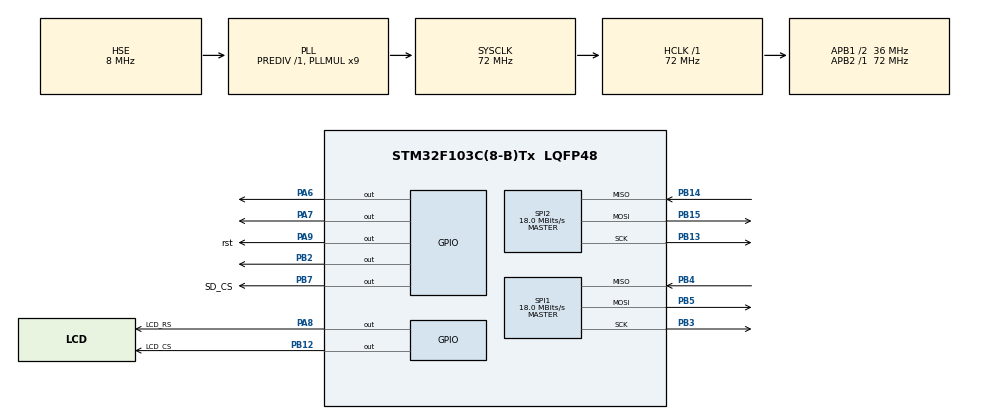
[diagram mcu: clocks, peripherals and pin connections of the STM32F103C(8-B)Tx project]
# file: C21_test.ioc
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FATFS._FS_TINY=1
FATFS._MAX_SS=4096
FATFS._USE_LFN=1
Mcu.Family=STM32F1
Mcu.Name=STM32F103C(8-B)Tx
Mcu.Package=LQFP48
NVIC.PriorityGroup=NVIC_PRIORITYGROUP_4
PA13.Mode=Serial_Wire
PA13.Signal=SYS_JTMS-SWDIO
PA14.Mode=Serial_Wire
PA14.Signal=SYS_JTCK-SWCLK
PA6.Signal=GPIO_Output
PA7.Signal=GPIO_Output
PA8.GPIO_Label=LCD_RS
PA8.Signal=GPIO_Output
PA9.GPIO_Label=rst
PA9.Signal=GPIO_Output
PB12.GPIO_Label=LCD_CS
PB12.Signal=GPIO_Output
PB13.Mode=Full_Duplex_Master
PB13.Signal=SPI2_SCK
PB14.Mode=Full_Duplex_Master
PB14.Signal=SPI2_MISO
PB15.Mode=Full_Duplex_Master
PB15.Signal=SPI2_MOSI
PB2.Signal=GPIO_Output
PB3.Mode=Full_Duplex_Master
PB3.Signal=SPI1_SCK
PB4.Mode=Full_Duplex_Master
PB4.Signal=SPI1_MISO
PB5.Mode=Full_Duplex_Master
PB5.Signal=SPI1_MOSI
PB7.GPIO_Label=SD_CS
PB7.Signal=GPIO_Output
PD0-OSC_IN.Mode=HSE-External-Oscillator
PD0-OSC_IN.Signal=RCC_OSC_IN
PD1-OSC_OUT.Mode=HSE-External-Oscillator
PD1-OSC_OUT.Signal=RCC_OSC_OUT
ProjectManager.HeapSize=0x200
ProjectManager.StackSize=0x400
ProjectManager.TargetToolchain=STM32CubeIDE
RCC.AHBFreq_Value=72000000
RCC.APB1CLKDivider=RCC_HCLK_DIV2
RCC.APB1Freq_Value=36000000
RCC.APB1TimFreq_Value=72000000
RCC.APB2Freq_Value=72000000
RCC.APB2TimFreq_Value=72000000
RCC.HCLKFreq_Value=72000000
RCC.PLLMUL=RCC_PLL_MUL9
RCC.PLLSourceVirtual=RCC_PLLSOURCE_HSE
RCC.SYSCLKFreq_VALUE=72000000
RCC.SYSCLKSource=RCC_SYSCLKSOURCE_PLLCLK
RCC.USBFreq_Value=72000000
SPI1.BaudRatePrescaler=SPI_BAUDRATEPRESCALER_4
SPI1.CalculateBaudRate=18.0 MBits/s
SPI1.Direction=SPI_DIRECTION_2LINES
SPI1.Mode=SPI_MODE_MASTER
SPI1.VirtualType=VM_MASTER
SPI2.CalculateBaudRate=18.0 MBits/s
SPI2.Direction=SPI_DIRECTION_2LINES
SPI2.Mode=SPI_MODE_MASTER
SPI2.VirtualType=VM_MASTER
VP_FATFS_VS_Generic.Mode=User_defined
board=custom

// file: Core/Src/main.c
/* USER CODE BEGIN Header */
/**
  ******************************************************************************
  * @file           : main.c
  * @brief          : Main program body
  ******************************************************************************
  * @attention
  *
  * <h2><center>&copy; Copyright (c) 2020 STMicroelectronics.
  * All rights reserved.</center></h2>
  *
  * This software component is licensed by ST under BSD 3-Clause license,
  * the "License"; You may not use this file except in compliance with the
  * License. You may obtain a copy of the License at:
  *                        opensource.org/licenses/BSD-3-Clause
  *
  ******************************************************************************
  */
/* USER CODE END Header */
#include "main.h"
#include "fatfs.h"

/* USER CODE BEGIN Includes */
#include "st7735.h"
/* USER CODE END Includes */

SPI_HandleTypeDef hspi1;
SPI_HandleTypeDef hspi2;

void SystemClock_Config(void);
static void MX_GPIO_Init(void);
static void MX_SPI2_Init(void);
static void MX_SPI1_Init(void);

/* USER CODE BEGIN 0 */

FATFS fs ;
FATFS  * pfs ;
FIL fil ;
FRESULT fres ;
DWORD fre_clust ;
uint32_t total , free ;
char buffer [ 100 ] ;

void loop() {
    // Check border
    ST7735_FillScreen(ST7735_BLACK);

    for(int x = 0; x < ST7735_WIDTH; x++) {
        ST7735_DrawPixel(x, 0, ST7735_RED);
        ST7735_DrawPixel(x, ST7735_HEIGHT-1, ST7735_RED);
    }

    for(int y = 0; y < ST7735_HEIGHT; y++) {
        ST7735_DrawPixel(0, y, ST7735_RED);
        ST7735_DrawPixel(ST7735_WIDTH-1, y, ST7735_RED);
    }

    HAL_Delay(3000);

    // Check fonts
    ST7735_FillScreen(ST7735_BLACK);
    ST7735_WriteString(0, 0, "Font_7x10, red on black, lorem ipsum dolor sit amet", Font_7x10, ST7735_RED, ST7735_BLACK);
    ST7735_WriteString(0, 3*10, "Font_11x18, green, lorem ipsum", Font_11x18, ST7735_GREEN, ST7735_BLACK);
    ST7735_WriteString(0, 3*10+3*18, "Font_16x26", Font_16x26, ST7735_BLUE, ST7735_BLACK);
    HAL_Delay(2000);

    // Check colors
    ST7735_FillScreen(ST7735_BLACK);
    ST7735_WriteString(0, 0, "BLACK", Font_11x18, ST7735_WHITE, ST7735_BLACK);
    HAL_Delay(500);

    ST7735_FillScreen(ST7735_BLUE);
    ST7735_WriteString(0, 0, "BLUE", Font_11x18, ST7735_BLACK, ST7735_BLUE);
    HAL_Delay(500);

    ST7735_FillScreen(ST7735_RED);
    ST7735_WriteString(0, 0, "RED", Font_11x18, ST7735_BLACK, ST7735_RED);
    HAL_Delay(500);

    ST7735_FillScreen(ST7735_GREEN);
    ST7735_WriteString(0, 0, "GREEN", Font_11x18, ST7735_BLACK, ST7735_GREEN);
    HAL_Delay(500);

    ST7735_FillScreen(ST7735_CYAN);
    ST7735_WriteString(0, 0, "CYAN", Font_11x18, ST7735_BLACK, ST7735_CYAN);
    HAL_Delay(500);

    ST7735_FillScreen(ST7735_MAGENTA);
    ST7735_WriteString(0, 0, "MAGENTA", Font_11x18, ST7735_BLACK, ST7735_MAGENTA);
    HAL_Delay(500);

    ST7735_FillScreen(ST7735_YELLOW);
    ST7735_WriteString(0, 0, "YELLOW", Font_11x18, ST7735_BLACK, ST7735_YELLOW);
    HAL_Delay(500);

    ST7735_FillScreen(ST7735_WHITE);
    ST7735_WriteString(0, 0, "WHITE", Font_11x18, ST7735_BLACK, ST7735_WHITE);
    HAL_Delay(500);
}
/* USER CODE END 0 */

int main(void)
{

  /* MCU Configuration--------------------------------------------------------*/

  /* Reset of all peripherals, Initializes the Flash interface and the Systick. */
  HAL_Init();

  /* Configure the system clock */
  SystemClock_Config();

  /* Initialize all configured peripherals */
  MX_GPIO_Init();
  MX_SPI2_Init();
  MX_SPI1_Init();
  MX_FATFS_Init();
  /* USER CODE BEGIN 2 */
  ST7735_Init();
  loop();

  fres = f_mount ( &fs ,  "" ,   1);
   while ( fres !=  FR_OK ){
 	  fres = f_mount ( &fs ,  "" ,   1);
 	  HAL_Delay(100);
   }
   FIL file;
    FRESULT res = f_open(&file, "video.rgb", FA_READ);
    if(res != FR_OK) {
  //      UART_Printf("f_open() failed, res = %d\r\n", res);
        return -1;
    }
  uint32_t imageHeight = 128;
  uint32_t imageWidth = 128;
  uint32_t bytesRead;
  for( int frame = 0;  frame < 903; frame ++){
    uint8_t imageRow[256];
       for(uint32_t y = 0; y < imageHeight; y++) {
           uint32_t rowIdx = 0;
           res = f_read(&file, imageRow, sizeof(imageRow), &bytesRead);
           if(res != FR_OK) {
  //             UART_Printf("f_read() failed, res = %d\r\n", res);
               f_close(&file);
               return -7;
           }

           for(uint32_t x = 0; x < imageWidth; x++) {
               uint8_t h = imageRow[rowIdx++];
               uint8_t l = imageRow[rowIdx++];

               uint16_t color565 = (l<<8)|h;

                   ST7735_DrawPixel(x,  y - 1 , color565);

           }
       }
  }
       res = f_close(&file);
  /* USER CODE END 2 */

  /* Infinite loop */
  while (1)
  {

    /* USER CODE BEGIN 3 */
	  HAL_GPIO_TogglePin(GPIOB,GPIO_PIN_2);
	  HAL_GPIO_TogglePin(GPIOA,GPIO_PIN_6);
	  HAL_GPIO_TogglePin(GPIOA,GPIO_PIN_7);
	  HAL_Delay(100);
  }
  /* USER CODE END 3 */
}

void SystemClock_Config(void)
{
  RCC_OscInitTypeDef RCC_OscInitStruct = {0};
  RCC_ClkInitTypeDef RCC_ClkInitStruct = {0};

  /** Initializes the RCC Oscillators according to the specified parameters
  * in the RCC_OscInitTypeDef structure.
  */
  RCC_OscInitStruct.OscillatorType = RCC_OSCILLATORTYPE_HSE;
  RCC_OscInitStruct.HSEState = RCC_HSE_ON;
  RCC_OscInitStruct.HSEPredivValue = RCC_HSE_PREDIV_DIV1;
  RCC_OscInitStruct.HSIState = RCC_HSI_ON;
  RCC_OscInitStruct.PLL.PLLState = RCC_PLL_ON;
  RCC_OscInitStruct.PLL.PLLSource = RCC_PLLSOURCE_HSE;
  RCC_OscInitStruct.PLL.PLLMUL = RCC_PLL_MUL9;
  if (HAL_RCC_OscConfig(&RCC_OscInitStruct) != HAL_OK)
  {
    Error_Handler();
  }
  /** Initializes the CPU, AHB and APB buses clocks
  */
  RCC_ClkInitStruct.ClockType = RCC_CLOCKTYPE_HCLK|RCC_CLOCKTYPE_SYSCLK
                              |RCC_CLOCKTYPE_PCLK1|RCC_CLOCKTYPE_PCLK2;
  RCC_ClkInitStruct.SYSCLKSource = RCC_SYSCLKSOURCE_PLLCLK;
  RCC_ClkInitStruct.AHBCLKDivider = RCC_SYSCLK_DIV1;
  RCC_ClkInitStruct.APB1CLKDivider = RCC_HCLK_DIV2;
  RCC_ClkInitStruct.APB2CLKDivider = RCC_HCLK_DIV1;

  if (HAL_RCC_ClockConfig(&RCC_ClkInitStruct, FLASH_LATENCY_2) != HAL_OK)
  {
    Error_Handler();
  }
}

static void MX_SPI1_Init(void)
{

  /* SPI1 parameter configuration*/
  hspi1.Instance = SPI1;
  hspi1.Init.Mode = SPI_MODE_MASTER;
  hspi1.Init.Direction = SPI_DIRECTION_2LINES;
  hspi1.Init.DataSize = SPI_DATASIZE_8BIT;
  hspi1.Init.CLKPolarity = SPI_POLARITY_LOW;
  hspi1.Init.CLKPhase = SPI_PHASE_1EDGE;
  hspi1.Init.NSS = SPI_NSS_SOFT;
  hspi1.Init.BaudRatePrescaler = SPI_BAUDRATEPRESCALER_4;
  hspi1.Init.FirstBit = SPI_FIRSTBIT_MSB;
  hspi1.Init.TIMode = SPI_TIMODE_DISABLE;
  hspi1.Init.CRCCalculation = SPI_CRCCALCULATION_DISABLE;
  hspi1.Init.CRCPolynomial = 10;
  if (HAL_SPI_Init(&hspi1) != HAL_OK)
  {
    Error_Handler();
  }

}

static void MX_SPI2_Init(void)
{

  /* SPI2 parameter configuration*/
  hspi2.Instance = SPI2;
  hspi2.Init.Mode = SPI_MODE_MASTER;
  hspi2.Init.Direction = SPI_DIRECTION_2LINES;
  hspi2.Init.DataSize = SPI_DATASIZE_8BIT;
  hspi2.Init.CLKPolarity = SPI_POLARITY_LOW;
  hspi2.Init.CLKPhase = SPI_PHASE_1EDGE;
  hspi2.Init.NSS = SPI_NSS_SOFT;
  hspi2.Init.BaudRatePrescaler = SPI_BAUDRATEPRESCALER_2;
  hspi2.Init.FirstBit = SPI_FIRSTBIT_MSB;
  hspi2.Init.TIMode = SPI_TIMODE_DISABLE;
  hspi2.Init.CRCCalculation = SPI_CRCCALCULATION_DISABLE;
  hspi2.Init.CRCPolynomial = 10;
  if (HAL_SPI_Init(&hspi2) != HAL_OK)
  {
    Error_Handler();
  }

}

static void MX_GPIO_Init(void)
{
  GPIO_InitTypeDef GPIO_InitStruct = {0};

  /* GPIO Ports Clock Enable */
  __HAL_RCC_GPIOD_CLK_ENABLE();
  __HAL_RCC_GPIOA_CLK_ENABLE();
  __HAL_RCC_GPIOB_CLK_ENABLE();

  /*Configure GPIO pin Output Level */
  HAL_GPIO_WritePin(GPIOA, GPIO_PIN_6|GPIO_PIN_7|LCD_RS_Pin|rst_Pin, GPIO_PIN_RESET);

  /*Configure GPIO pin Output Level */
  HAL_GPIO_WritePin(GPIOB, GPIO_PIN_2|LCD_CS_Pin|SD_CS_Pin, GPIO_PIN_RESET);

  /*Configure GPIO pins : PA6 PA7 LCD_RS_Pin rst_Pin */
  GPIO_InitStruct.Pin = GPIO_PIN_6|GPIO_PIN_7|LCD_RS_Pin|rst_Pin;
  GPIO_InitStruct.Mode = GPIO_MODE_OUTPUT_PP;
  GPIO_InitStruct.Pull = GPIO_NOPULL;
  GPIO_InitStruct.Speed = GPIO_SPEED_FREQ_LOW;
  HAL_GPIO_Init(GPIOA, &GPIO_InitStruct);

  /*Configure GPIO pins : PB2 LCD_CS_Pin SD_CS_Pin */
  GPIO_InitStruct.Pin = GPIO_PIN_2|LCD_CS_Pin|SD_CS_Pin;
  GPIO_InitStruct.Mode = GPIO_MODE_OUTPUT_PP;
  GPIO_InitStruct.Pull = GPIO_NOPULL;
  GPIO_InitStruct.Speed = GPIO_SPEED_FREQ_LOW;
  HAL_GPIO_Init(GPIOB, &GPIO_InitStruct);

}

void Error_Handler(void)
{
}

/************************ (C) COPYRIGHT STMicroelectronics *****END OF FILE****/
